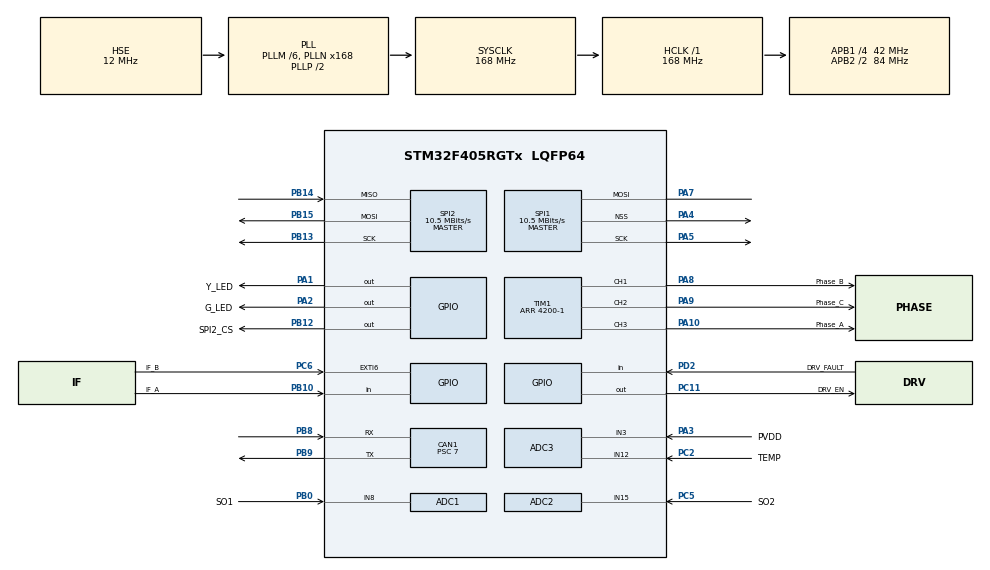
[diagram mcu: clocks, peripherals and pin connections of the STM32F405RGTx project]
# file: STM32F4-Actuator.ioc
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Mcu.Family=STM32F4
Dma.ADC3.0.FIFOMode=DMA_FIFOMODE_DISABLE
PH0-OSC_IN.Signal=RCC_OSC_IN
Dma.ADC3.0.Priority=DMA_PRIORITY_LOW
RCC.CortexFreq_Value=168000000
TIM1.OCIdleState_1=TIM_OCIDLESTATE_RESET
TIM1.OCIdleState_2=TIM_OCIDLESTATE_RESET
SPI1.VirtualType=VM_MASTER
SPI2.VirtualType=VM_MASTER
ADC2.Channel-0\#ChannelRegularConversion=ADC_CHANNEL_15
TIM1.RepetitionCounter=3
TIM1.OCIdleState_3=TIM_OCIDLESTATE_RESET
PA14.GPIO_Label=SWCLK
PC6.GPIO_Label=IF_B
PB0.GPIO_Label=SO1
PB13.Signal=SPI2_SCK
PB15.Signal=SPI2_MOSI
ADC3.Channel-0\#ChannelRegularConversion=ADC_CHANNEL_3
RCC.SYSCLKSource=RCC_SYSCLKSOURCE_PLLCLK
ProjectManager.StackSize=0x4000
TIM1.OCMode_PWM-PWM\ Generation3\ CH3=TIM_OCMODE_PWM2
PA4.Mode=NSS_Signal_Hard_Output
ADC1.Mode=ADC_TRIPLEMODE_REGSIMULT
SPI1.Direction=SPI_DIRECTION_1LINE
RCC.HCLKFreq_Value=168000000
SH.ADCx_IN3.0=ADC3_IN3,IN3
RCC.APB2TimFreq_Value=168000000
Dma.ADC3.0.Direction=DMA_PERIPH_TO_MEMORY
SPI1.CalculateBaudRate=10.5 MBits/s
NVIC.DMA2_Stream0_IRQn=true\:0\:0\:false\:false\:true\:false\:true
Dma.ADC3.0.MemDataAlignment=DMA_MDATAALIGN_WORD
ADC2.EOCSelection=ADC_EOC_SEQ_CONV
RCC.AHBFreq_Value=168000000
SPI2.BaudRatePrescaler=SPI_BAUDRATEPRESCALER_4
PH0-OSC_IN.Mode=HSE-External-Oscillator
ADC3.SamplingTime-1\#ChannelRegularConversion=ADC_SAMPLETIME_28CYCLES
ADC1.Channel-0\#ChannelRegularConversion=ADC_CHANNEL_8
RCC.HSE_VALUE=12000000
PB3.Mode=Trace_Asynchronous_SW
ADC1.ScanConvMode=ENABLE
SH.ADCx_IN15.0=ADC2_IN15,IN15
Dma.ADC3.0.PeriphInc=DMA_PINC_DISABLE
PB12.GPIO_Label=SPI2_CS
TIM1.Channel-PWM\ Generation1\ CH1=TIM_CHANNEL_1
PA14.Mode=Trace_Asynchronous_SW
PB14.Mode=Full_Duplex_Master
PC11.GPIO_Label=DRV_EN
PA10.GPIO_Label=Phase_A
SH.ADCx_IN8.0=ADC1_IN8,IN8
SPI2.CalculateBaudRate=10.5 MBits/s
Dma.ADC3.0.MemInc=DMA_MINC_ENABLE
PA8.Signal=S_TIM1_CH1
SPI1.VirtualNSS=VM_NSSHARD
VP_TIM1_VS_ClockSourceINT.Mode=Internal
ADC1.SamplingTime-0\#ChannelRegularConversion=ADC_SAMPLETIME_28CYCLES
PH1-OSC_OUT.Mode=HSE-External-Oscillator
CAN1.Prescaler=7
Mcu.Package=LQFP64
PB9.Signal=CAN1_TX
SPI2.Mode=SPI_MODE_MASTER
PA2.GPIO_Label=G_LED
ADC3.Rank-0\#ChannelRegularConversion=1
PA10.Signal=S_TIM1_CH3
ADC2.SamplingTime-0\#ChannelRegularConversion=ADC_SAMPLETIME_28CYCLES
SPI2.CLKPhase=SPI_PHASE_2EDGE
PA10.GPIO_Speed=GPIO_SPEED_FREQ_VERY_HIGH
ADC3.DMAContinuousRequests=ENABLE
RCC.APB2CLKDivider=RCC_HCLK_DIV2
RCC.APB1TimFreq_Value=84000000
Dma.ADC3.0.Instance=DMA2_Stream0
SPI2.Direction=SPI_DIRECTION_2LINES
PC5.Signal=ADCx_IN15
TIM1.Period=4200-1
PB13.Mode=Full_Duplex_Master
ADC2.Rank-0\#ChannelRegularConversion=1
Dma.Request0=ADC3
SPI1.BaudRatePrescaler=SPI_BAUDRATEPRESCALER_8
CAN1.CalculateTimeBit=999.99
PC2.GPIO_Label=TEMP
PA8.GPIO_Speed=GPIO_SPEED_FREQ_VERY_HIGH
ADC1.EOCSelection=ADC_EOC_SEQ_CONV
ADC2.ScanConvMode=ENABLE
PA3.Signal=ADCx_IN3
CAN1.CalculateTimeQuantum=166.66666666666669
PA5.Mode=Simplex_Bidirectional_Master
PB3.GPIO_Label=SWO
RCC.PLLSourceVirtual=RCC_PLLSOURCE_HSE
TIM1.OCPolarity_1=TIM_OCPOLARITY_HIGH
TIM1.OCPolarity_3=TIM_OCPOLARITY_HIGH
TIM1.OCPolarity_2=TIM_OCPOLARITY_HIGH
ADC2.Mode=ADC_TRIPLEMODE_REGSIMULT
ADC1.Rank-0\#ChannelRegularConversion=1
PA7.Mode=Simplex_Bidirectional_Master
PD2.GPIO_PuPd=GPIO_PULLUP
TIM1.CounterMode=TIM_COUNTERMODE_CENTERALIGNED1
PA9.GPIO_Label=Phase_C
PC11.Signal=GPIO_Output
CAN1.CalculateBaudRate=1000000
PC2.Signal=ADCx_IN12
PC6.Signal=GPXTI6
SPI1.CLKPhase=SPI_PHASE_2EDGE
RCC.APB1CLKDivider=RCC_HCLK_DIV4
PA13.Signal=SYS_JTMS-SWDIO
TIM1.AutoReloadPreload=TIM_AUTORELOAD_PRELOAD_ENABLE
SH.ADCx_IN12.0=ADC3_IN12,IN12
ADC3.SamplingTime-0\#ChannelRegularConversion=ADC_SAMPLETIME_28CYCLES
PA8.GPIO_Label=Phase_B
SH.S_TIM1_CH1.0=TIM1_CH1,PWM Generation1 CH1
CAN1.BS2=CAN_BS2_2TQ
CAN1.BS1=CAN_BS1_3TQ
ProjectManager.TargetToolchain=STM32CubeIDE
PB10.GPIO_Label=IF_A
PB9.Mode=CAN_Activate
PA9.Signal=S_TIM1_CH2
TIM1.Channel-PWM\ Generation2\ CH2=TIM_CHANNEL_2
ADC3.NbrOfConversion=2
RCC.LSE_VALUE=32768
PA1.Signal=GPIO_Output
PB12.GPIO_Speed=GPIO_SPEED_FREQ_MEDIUM
PB10.Signal=GPIO_Input
PB14.Signal=SPI2_MISO
PA5.Signal=SPI1_SCK
board=custom
RCC.VCOOutputFreq_Value=336000000
PB15.Mode=Full_Duplex_Master
RCC.APB2Freq_Value=84000000
SH.S_TIM1_CH2.0=TIM1_CH2,PWM Generation2 CH2
SPI1.Mode=SPI_MODE_MASTER
CAN1.Mode=CAN_MODE_LOOPBACK
PA1.GPIO_Label=Y_LED
PH1-OSC_OUT.Signal=RCC_OSC_OUT
PA13.Mode=Trace_Asynchronous_SW
Mcu.Name=STM32F405RGTx
Dma.ADC3.0.PeriphDataAlignment=DMA_PDATAALIGN_WORD
ADC3.Channel-1\#ChannelRegularConversion=ADC_CHANNEL_3
TIM1.OCMode_PWM-PWM\ Generation1\ CH1=TIM_OCMODE_PWM2
PA2.Signal=GPIO_Output
PA13.GPIO_Label=SWDIO
RCC.48MHZClocksFreq_Value=84000000
PB3.Signal=SYS_JTDO-SWO
ADC3.Rank-1\#ChannelRegularConversion=2
PA4.Signal=SPI1_NSS
RCC.SYSCLKFreq_VALUE=168000000
ADC1.master=1
ADC2.NbrOfConversionFlag=1
PC5.GPIO_Label=SO2
NVIC.EXTI9_5_IRQn=true\:0\:0\:false\:false\:true\:true\:true
PA14.Signal=SYS_JTCK-SWCLK
ProjectManager.HeapSize=0x2000
ADC3.EOCSelection=ADC_EOC_SEQ_CONV
Dma.ADC3.0.Mode=DMA_CIRCULAR
SH.S_TIM1_CH3.0=TIM1_CH3,PWM Generation3 CH3
NVIC.TIM1_UP_TIM10_IRQn=true\:1\:0\:true\:false\:true\:true\:true
RCC.HSI_VALUE=16000000
NVIC.PriorityGroup=NVIC_PRIORITYGROUP_4
ADC1.NbrOfConversionFlag=1
RCC.PLLM=6
PB8.Mode=CAN_Activate
RCC.PLLN=168
TIM1.OCMode_PWM-PWM\ Generation2\ CH2=TIM_OCMODE_PWM2
PA9.GPIO_Speed=GPIO_SPEED_FREQ_VERY_HIGH
PB8.Signal=CAN1_RX
TIM1.Channel-PWM\ Generation3\ CH3=TIM_CHANNEL_3
PD2.Signal=GPIO_Input
PB12.GPIO_PuPd=GPIO_PULLUP
RCC.APB1Freq_Value=42000000
ADC3.NbrOfConversionFlag=1
PB0.Signal=ADCx_IN8
PB12.Signal=GPIO_Output
PD2.GPIO_Label=DRV_FAULT
NVIC.CAN1_RX0_IRQn=true\:2\:0\:true\:false\:true\:true\:true
PA3.GPIO_Label=PVDD
PA7.Signal=SPI1_MOSI

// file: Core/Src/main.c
/* USER CODE BEGIN Header */
/**
  ******************************************************************************
  * @file           : main.c
  * @brief          : Main program body
  ******************************************************************************
  * @attention
  *
  * <h2><center>&copy; Copyright (c) 2021 STMicroelectronics.
  * All rights reserved.</center></h2>
  *
  * This software component is licensed by ST under BSD 3-Clause license,
  * the "License"; You may not use this file except in compliance with the
  * License. You may obtain a copy of the License at:
  *                        opensource.org/licenses/BSD-3-Clause
  *
  ******************************************************************************
  */
/* USER CODE END Header */
#include "main.h"

/* USER CODE BEGIN Includes */
#include <stdio.h>
#include <stdint.h>
#include <math.h>
#include "sin_lookup.h"
#include "stm32f4xx_it.h"
/* USER CODE END Includes */

/* USER CODE BEGIN PD */

#define REV 1	// code revision

// Phase Mappings
#define Phase_A_Ch TIM_CHANNEL_3
#define Phase_B_Ch TIM_CHANNEL_1
#define Phase_C_Ch TIM_CHANNEL_2

// Enable DRV chip?
#define DRV_EN 0

// CAN ID (actuator)
#define CAN_TX_ID 2		// Transmits as this ID
#define CAN_RX_ID 1		// Recieves messages from this ID

/* USER CODE END PD */

ADC_HandleTypeDef hadc1;
ADC_HandleTypeDef hadc2;
ADC_HandleTypeDef hadc3;
DMA_HandleTypeDef hdma_adc3;

CAN_HandleTypeDef hcan1;

SPI_HandleTypeDef hspi1;
SPI_HandleTypeDef hspi2;

TIM_HandleTypeDef htim1;

/* USER CODE BEGIN PV */

// Encoder
typedef struct
{
	float SPI_theta;		// IIF from SPI 0-360deg used to zero

	int16_t  IIF_Counter;		// The counter variable that is interrupt driven so dont use it in calculations
	int64_t  IIF_Revolutions;	// Number of full revolutions taken
	uint16_t IIF_Raw;			// Current angle 0-4095
} ENC_Struct;
// ADC
typedef struct
{
	float VDDA;
	uint32_t DMA_Buff[3];						// Array for ADC 3 DMA requests
	float PVDD, V_bat_R_Bot, V_bat_R_Top;		// Temp_V_Offset/V 	and Resistor divider for PVDD	V1: V_o = Vin * R2 / (R1+R2)
	float Temp, Temp_V_Offset, Temp_Slope;		// Board temp 		and thermocouple properties		LM60: V_o = (6.25mV * T/C) + 424mV

	int16_t i_a_Raw, i_b_Raw, PVDD_Raw, Temp_Raw;	// Raw ADC readings
	int16_t i_a_Fil, i_b_Fil, PVDD_Fil, Temp_Fil;	// Filtered ADC readings

	float R_Shunt_Res;					// Shunt resistor resistance /ohms
	int SO_Gain;						// Gain of sense amp
	int16_t SO_A_Offset, SO_B_Offset;	// Raw offset of sense amp
} ADC_Struct;
// FOC
typedef struct
{
	// Proeprties
	int Pole_Pairs;				// number of pole pairs
	float dt;					// delta T of FOC response		/seconds

	// Angles
	float m_theta, m_dtheta;	// mechanical theta and dtheta	/deg		/degs-1
	float e_theta, e_dtheta;	// electrical theta and dtheta	/deg		/degs-1

	// FOC currents
	float i_a, i_b, i_c;		// Phase currents				/amps
	float i_alph, i_beta;		// Alpha/Beta currents			/amps
	float i_d, i_q;				// Direct/Quadrature currents	/amps

	// Current target
	float DC_I;					// 0 to 1 of the duty cycle controlling current

	// FOC sector control
	float alpha;				// Angle from start of sector to current position
	int sector;					// which sector currently in

	// Duty cycles
	float DC_1, DC_2, DC_0;		// Duty cycle of vector start, end and unforced

	uint16_t PWM_Reg_Max;		// PWM register max
	float PWM_A, PWM_C, PWM_B;	// Duty cycle
} FOC_Struct;
// Filter
typedef struct
{
	// Butterworth from: https://www.meme.net.au/butterworth.html
	// At 6.667KHz smapling
	// y(i) = k1*x(i) + k1*x(i-1) + k2*y(i-1)

	// Filters i_a, i_b, PVDD, Temp, IIF count, IIF vel

	float i_k[2];		// Filter coefficients for current filters
	float Misc_k[2];	// Filter coefficients for misc filter

	int16_t i_a_Pre, i_a_Pre_Fil, i_b_Pre, i_b_Pre_Fil;			// Previous values for current
	int16_t PVDD_Pre, PVDD_Pre_Fil, Temp_Pre, Temp_Pre_Fil;		// Previous values for PVDD and temp
} FIL_Struct;
// CAN
typedef struct
{
	uint32_t timeout;		// timeout/ms

	CAN_RxHeaderTypeDef rx_header;
	uint8_t rx_data[6];

	CAN_TxHeaderTypeDef tx_header;
	uint8_t tx_data[6];

	CAN_FilterTypeDef filter;
} CAN_Struct;
// Controller
typedef struct
{
	float Torque;
	float Velocity;

} CON_Struct;

ENC_Struct enc;
ADC_Struct adc;
FOC_Struct foc;
FIL_Struct fil;
CAN_Struct can;
CON_Struct con;

/* USER CODE END PV */

void SystemClock_Config(void);
static void MX_GPIO_Init(void);
static void MX_DMA_Init(void);
static void MX_CAN1_Init(void);
static void MX_TIM1_Init(void);
static void MX_ADC1_Init(void);
static void MX_ADC2_Init(void);
static void MX_ADC3_Init(void);
static void MX_SPI1_Init(void);
static void MX_SPI2_Init(void);

/* USER CODE BEGIN 0 */

// For SWD debug port 0 printf()
int _write(int file, char *ptr, int len)
{
	int i=0;
	for(i=0; i<len; i++)
		ITM_SendChar((*ptr++));
	return len;
}

/* USER CODE END 0 */

int main(void)
{

  /* MCU Configuration--------------------------------------------------------*/

  /* Reset of all peripherals, Initializes the Flash interface and the Systick. */
  HAL_Init();

  /* Configure the system clock */
  SystemClock_Config();

  /* Initialize all configured peripherals */
  MX_GPIO_Init();
  MX_DMA_Init();
  MX_CAN1_Init();
  MX_TIM1_Init();
  MX_ADC1_Init();
  MX_ADC2_Init();
  MX_ADC3_Init();
  MX_SPI1_Init();
  MX_SPI2_Init();
  /* USER CODE BEGIN 2 */
  HAL_Delay(10);
  printf("Actuator Firmware Version: %i\n",REV);
  HAL_Delay(10);

  /* Start ADCs */
  printf("Start ADC... ");
  HAL_ADC_Start(&hadc1);
  HAL_ADC_Start(&hadc2);
  HAL_ADC_Start_DMA(&hadc3,(uint32_t*)adc.DMA_Buff,3);
  printf("Good\n");
  HAL_Delay(10);

  /* Startup Timers */
  printf("Start Timers... ");
  HAL_TIM_Base_Start_IT(&htim1);
  HAL_TIM_PWM_Start(&htim1, Phase_A_Ch);
  HAL_TIM_PWM_Start(&htim1, Phase_B_Ch);
  HAL_TIM_PWM_Start(&htim1, Phase_C_Ch);
  Set_PWM3(0,0,0);							// Set PWM channels to off
  printf("Good\n");
  HAL_Delay(10);

  /* Startup DRV chip */
  if(DRV_EN){
	  printf("Start DRV... ");
	  int DRV_Err = DRV_Start();			// startup and write SPI registers
	  if(DRV_Err){							// if errors occurs,
	   printf("DRV Error: %i\n",DRV_Err);
	   Error_Handler();							// enter hardfault handler
	  }
	  DRV_Zero_SO();						// Zero sense amps
	  printf("Good\n");
	  HAL_Delay(10);
  }else{
	  HAL_GPIO_WritePin(DRV_EN_GPIO_Port, DRV_EN_Pin, 0);	// Set enable of DRV chip low
  }

  /* Check Encoder talks */
  printf("Start ENC... ");
  int Enc_Err = Read_Encoder_SPI_Ang(&enc.SPI_theta);	// read one value from encoders
  if(Enc_Err){								// if errors occurs,
	  printf("ENC Error: %i\n",Enc_Err);
	  Error_Handler();							// enter hardfault handler
  }
  enc.IIF_Counter = (int)(enc.SPI_theta /360.0f * 4095.0f);	// Zero encoder
  printf("Good\n");
  HAL_Delay(10);

  /* CAN setup */
  printf("Start CAN... ");
  // Config RX Filter
  can.filter.FilterActivation		= ENABLE;					// use filter or not
  can.filter.FilterBank				= 0;						// specifies which filter to be initialised
  can.filter.FilterFIFOAssignment	= CAN_RX_FIFO0;				// specifies which FIFO this is for
  can.filter.FilterIdHigh			= CAN_RX_ID<<5;				// MSB for 32 bit / first  16 bit
  can.filter.FilterIdLow			= 0x0000;					// LSB for 32 bit / second 16 bit
  can.filter.FilterMaskIdHigh		= CAN_RX_ID<<5;				// MSB for 32 bit / first  16 bit
  can.filter.FilterMaskIdLow		= 0x0000;					// LSB for 32 bit / second 16 bit
  can.filter.FilterMode				= CAN_FILTERMODE_IDMASK;
  can.filter.FilterScale			= CAN_FILTERSCALE_32BIT;
  can.filter.SlaveStartFilterBank	= 14;						// select filter for slave CAN to use

  HAL_CAN_ConfigFilter(&hcan1, &can.filter);
  HAL_CAN_Start(&hcan1);

  // Config TX
  can.tx_header.DLC 				= 6;			// Data length/bytes
  can.tx_header.IDE					= CAN_ID_STD;	// standard ID
  can.tx_header.RTR					= CAN_RTR_DATA;	// set data type to transmission
  can.tx_header.StdId				= CAN_TX_ID;	// recipient CAN ID
  can.tx_header.ExtId				= CAN_TX_ID;   	// recipient extended CAN ID
  can.tx_header.TransmitGlobalTime	= DISABLE;

  __HAL_CAN_ENABLE_IT(&hcan1, CAN_IT_RX_FIFO0_MSG_PENDING); // Start can interrupt
  printf("Good\n");
  HAL_Delay(10);

  /* Setup ADC structure */
  adc.VDDA = 3.30f;
  adc.V_bat_R_Top = 75.0f;
  adc.V_bat_R_Bot = 5.1f;
  adc.Temp_V_Offset = 0.424f;
  adc.Temp_Slope = 0.00625f;
  adc.R_Shunt_Res = 0.001f;
  adc.SO_Gain = 40.0f;

  /* Setup FOC structure*/
  foc.Pole_Pairs = 21.0f;
  foc.dt = (float)(1.0f/(168.0f*1000000.0f/(htim1.Init.Period+1)/(htim1.Init.RepetitionCounter+1)));
  foc.PWM_Reg_Max = htim1.Init.Period;

  /* Setup Filter structure */
  fil.i_k[0]    = 0.421f;	fil.i_k[1]    = 0.158f;
  fil.Misc_k[0] = 0.421f;	fil.Misc_k[1] = 0.158f;

  printf("FOC Start\n");
  HAL_Delay(10);

  /* USER CODE END 2 */

  /* Infinite loop */
  /* USER CODE BEGIN WHILE */
  while (1)
  {
	  /* Heartbeat */
	  HAL_GPIO_WritePin(G_LED_GPIO_Port, G_LED_Pin, 1);

	  // Read if there is an error
	  if(DRV_EN)
		  if(HAL_GPIO_ReadPin(DRV_FAULT_GPIO_Port, DRV_FAULT_Pin)==0)
			  DRV_Error();

	  ADC_Filter_Misc(adc.PVDD_Raw,adc.Temp_Raw,&adc.PVDD_Fil,&adc.Temp_Fil);	// Filter raw ADC PVDD and temp
	  ADC_Norm_Misc(adc.PVDD_Fil,adc.Temp_Fil,&adc.PVDD,&adc.Temp);				// Normalise PVDD and temp

	  printf("ENC IIF: %i\n",enc.IIF_Raw);

	  HAL_Delay(50);

	  HAL_GPIO_WritePin(G_LED_GPIO_Port, G_LED_Pin, 0);

	  HAL_Delay(50);
    /* USER CODE END WHILE */

  }
}

void SystemClock_Config(void)
{
  RCC_OscInitTypeDef RCC_OscInitStruct = {0};
  RCC_ClkInitTypeDef RCC_ClkInitStruct = {0};

  /** Configure the main internal regulator output voltage
  */
  __HAL_RCC_PWR_CLK_ENABLE();
  __HAL_PWR_VOLTAGESCALING_CONFIG(PWR_REGULATOR_VOLTAGE_SCALE1);
  /** Initializes the RCC Oscillators according to the specified parameters
  * in the RCC_OscInitTypeDef structure.
  */
  RCC_OscInitStruct.OscillatorType = RCC_OSCILLATORTYPE_HSE;
  RCC_OscInitStruct.HSEState = RCC_HSE_ON;
  RCC_OscInitStruct.PLL.PLLState = RCC_PLL_ON;
  RCC_OscInitStruct.PLL.PLLSource = RCC_PLLSOURCE_HSE;
  RCC_OscInitStruct.PLL.PLLM = 6;
  RCC_OscInitStruct.PLL.PLLN = 168;
  RCC_OscInitStruct.PLL.PLLP = RCC_PLLP_DIV2;
  RCC_OscInitStruct.PLL.PLLQ = 4;
  if (HAL_RCC_OscConfig(&RCC_OscInitStruct) != HAL_OK)
  {
    Error_Handler();
  }
  /** Initializes the CPU, AHB and APB buses clocks
  */
  RCC_ClkInitStruct.ClockType = RCC_CLOCKTYPE_HCLK|RCC_CLOCKTYPE_SYSCLK
                              |RCC_CLOCKTYPE_PCLK1|RCC_CLOCKTYPE_PCLK2;
  RCC_ClkInitStruct.SYSCLKSource = RCC_SYSCLKSOURCE_PLLCLK;
  RCC_ClkInitStruct.AHBCLKDivider = RCC_SYSCLK_DIV1;
  RCC_ClkInitStruct.APB1CLKDivider = RCC_HCLK_DIV4;
  RCC_ClkInitStruct.APB2CLKDivider = RCC_HCLK_DIV2;

  if (HAL_RCC_ClockConfig(&RCC_ClkInitStruct, FLASH_LATENCY_5) != HAL_OK)
  {
    Error_Handler();
  }
}

static void MX_ADC1_Init(void)
{

  ADC_MultiModeTypeDef multimode = {0};
  ADC_ChannelConfTypeDef sConfig = {0};

  /** Configure the global features of the ADC (Clock, Resolution, Data Alignment and number of conversion)
  */
  hadc1.Instance = ADC1;
  hadc1.Init.ClockPrescaler = ADC_CLOCK_SYNC_PCLK_DIV4;
  hadc1.Init.Resolution = ADC_RESOLUTION_12B;
  hadc1.Init.ScanConvMode = ENABLE;
  hadc1.Init.ContinuousConvMode = DISABLE;
  hadc1.Init.DiscontinuousConvMode = DISABLE;
  hadc1.Init.ExternalTrigConvEdge = ADC_EXTERNALTRIGCONVEDGE_NONE;
  hadc1.Init.ExternalTrigConv = ADC_SOFTWARE_START;
  hadc1.Init.DataAlign = ADC_DATAALIGN_RIGHT;
  hadc1.Init.NbrOfConversion = 1;
  hadc1.Init.DMAContinuousRequests = DISABLE;
  hadc1.Init.EOCSelection = ADC_EOC_SEQ_CONV;
  if (HAL_ADC_Init(&hadc1) != HAL_OK)
  {
    Error_Handler();
  }
  /** Configure the ADC multi-mode
  */
  multimode.Mode = ADC_TRIPLEMODE_REGSIMULT;
  multimode.DMAAccessMode = ADC_DMAACCESSMODE_DISABLED;
  multimode.TwoSamplingDelay = ADC_TWOSAMPLINGDELAY_5CYCLES;
  if (HAL_ADCEx_MultiModeConfigChannel(&hadc1, &multimode) != HAL_OK)
  {
    Error_Handler();
  }
  /** Configure for the selected ADC regular channel its corresponding rank in the sequencer and its sample time.
  */
  sConfig.Channel = ADC_CHANNEL_8;
  sConfig.Rank = 1;
  sConfig.SamplingTime = ADC_SAMPLETIME_28CYCLES;
  if (HAL_ADC_ConfigChannel(&hadc1, &sConfig) != HAL_OK)
  {
    Error_Handler();
  }

}

static void MX_ADC2_Init(void)
{

  ADC_ChannelConfTypeDef sConfig = {0};

  /** Configure the global features of the ADC (Clock, Resolution, Data Alignment and number of conversion)
  */
  hadc2.Instance = ADC2;
  hadc2.Init.ClockPrescaler = ADC_CLOCK_SYNC_PCLK_DIV4;
  hadc2.Init.Resolution = ADC_RESOLUTION_12B;
  hadc2.Init.ScanConvMode = ENABLE;
  hadc2.Init.ContinuousConvMode = DISABLE;
  hadc2.Init.DiscontinuousConvMode = DISABLE;
  hadc2.Init.DataAlign = ADC_DATAALIGN_RIGHT;
  hadc2.Init.NbrOfConversion = 1;
  hadc2.Init.DMAContinuousRequests = DISABLE;
  hadc2.Init.EOCSelection = ADC_EOC_SEQ_CONV;
  if (HAL_ADC_Init(&hadc2) != HAL_OK)
  {
    Error_Handler();
  }
  /** Configure for the selected ADC regular channel its corresponding rank in the sequencer and its sample time.
  */
  sConfig.Channel = ADC_CHANNEL_15;
  sConfig.Rank = 1;
  sConfig.SamplingTime = ADC_SAMPLETIME_28CYCLES;
  if (HAL_ADC_ConfigChannel(&hadc2, &sConfig) != HAL_OK)
  {
    Error_Handler();
  }

}

static void MX_ADC3_Init(void)
{

  ADC_ChannelConfTypeDef sConfig = {0};

  /** Configure the global features of the ADC (Clock, Resolution, Data Alignment and number of conversion)
  */
  hadc3.Instance = ADC3;
  hadc3.Init.ClockPrescaler = ADC_CLOCK_SYNC_PCLK_DIV4;
  hadc3.Init.Resolution = ADC_RESOLUTION_12B;
  hadc3.Init.ScanConvMode = ENABLE;
  hadc3.Init.ContinuousConvMode = DISABLE;
  hadc3.Init.DiscontinuousConvMode = DISABLE;
  hadc3.Init.DataAlign = ADC_DATAALIGN_RIGHT;
  hadc3.Init.NbrOfConversion = 2;
  hadc3.Init.DMAContinuousRequests = ENABLE;
  hadc3.Init.EOCSelection = ADC_EOC_SEQ_CONV;
  if (HAL_ADC_Init(&hadc3) != HAL_OK)
  {
    Error_Handler();
  }
  /** Configure for the selected ADC regular channel its corresponding rank in the sequencer and its sample time.
  */
  sConfig.Channel = ADC_CHANNEL_3;
  sConfig.Rank = 1;
  sConfig.SamplingTime = ADC_SAMPLETIME_28CYCLES;
  if (HAL_ADC_ConfigChannel(&hadc3, &sConfig) != HAL_OK)
  {
    Error_Handler();
  }
  /** Configure for the selected ADC regular channel its corresponding rank in the sequencer and its sample time.
  */
  sConfig.Rank = 2;
  if (HAL_ADC_ConfigChannel(&hadc3, &sConfig) != HAL_OK)
  {
    Error_Handler();
  }

}

static void MX_CAN1_Init(void)
{

  hcan1.Instance = CAN1;
  hcan1.Init.Prescaler = 7;
  hcan1.Init.Mode = CAN_MODE_LOOPBACK;
  hcan1.Init.SyncJumpWidth = CAN_SJW_1TQ;
  hcan1.Init.TimeSeg1 = CAN_BS1_3TQ;
  hcan1.Init.TimeSeg2 = CAN_BS2_2TQ;
  hcan1.Init.TimeTriggeredMode = DISABLE;
  hcan1.Init.AutoBusOff = DISABLE;
  hcan1.Init.AutoWakeUp = DISABLE;
  hcan1.Init.AutoRetransmission = DISABLE;
  hcan1.Init.ReceiveFifoLocked = DISABLE;
  hcan1.Init.TransmitFifoPriority = DISABLE;
  if (HAL_CAN_Init(&hcan1) != HAL_OK)
  {
    Error_Handler();
  }

}

static void MX_SPI1_Init(void)
{

  /* SPI1 parameter configuration*/
  hspi1.Instance = SPI1;
  hspi1.Init.Mode = SPI_MODE_MASTER;
  hspi1.Init.Direction = SPI_DIRECTION_1LINE;
  hspi1.Init.DataSize = SPI_DATASIZE_8BIT;
  hspi1.Init.CLKPolarity = SPI_POLARITY_LOW;
  hspi1.Init.CLKPhase = SPI_PHASE_2EDGE;
  hspi1.Init.NSS = SPI_NSS_HARD_OUTPUT;
  hspi1.Init.BaudRatePrescaler = SPI_BAUDRATEPRESCALER_8;
  hspi1.Init.FirstBit = SPI_FIRSTBIT_MSB;
  hspi1.Init.TIMode = SPI_TIMODE_DISABLE;
  hspi1.Init.CRCCalculation = SPI_CRCCALCULATION_DISABLE;
  hspi1.Init.CRCPolynomial = 10;
  if (HAL_SPI_Init(&hspi1) != HAL_OK)
  {
    Error_Handler();
  }

}

static void MX_SPI2_Init(void)
{

  /* SPI2 parameter configuration*/
  hspi2.Instance = SPI2;
  hspi2.Init.Mode = SPI_MODE_MASTER;
  hspi2.Init.Direction = SPI_DIRECTION_2LINES;
  hspi2.Init.DataSize = SPI_DATASIZE_8BIT;
  hspi2.Init.CLKPolarity = SPI_POLARITY_LOW;
  hspi2.Init.CLKPhase = SPI_PHASE_2EDGE;
  hspi2.Init.NSS = SPI_NSS_SOFT;
  hspi2.Init.BaudRatePrescaler = SPI_BAUDRATEPRESCALER_4;
  hspi2.Init.FirstBit = SPI_FIRSTBIT_MSB;
  hspi2.Init.TIMode = SPI_TIMODE_DISABLE;
  hspi2.Init.CRCCalculation = SPI_CRCCALCULATION_DISABLE;
  hspi2.Init.CRCPolynomial = 10;
  if (HAL_SPI_Init(&hspi2) != HAL_OK)
  {
    Error_Handler();
  }

}

static void MX_TIM1_Init(void)
{

  TIM_ClockConfigTypeDef sClockSourceConfig = {0};
  TIM_MasterConfigTypeDef sMasterConfig = {0};
  TIM_OC_InitTypeDef sConfigOC = {0};
  TIM_BreakDeadTimeConfigTypeDef sBreakDeadTimeConfig = {0};

  htim1.Instance = TIM1;
  htim1.Init.Prescaler = 0;
  htim1.Init.CounterMode = TIM_COUNTERMODE_CENTERALIGNED1;
  htim1.Init.Period = 4200-1;
  htim1.Init.ClockDivision = TIM_CLOCKDIVISION_DIV1;
  htim1.Init.RepetitionCounter = 3;
  htim1.Init.AutoReloadPreload = TIM_AUTORELOAD_PRELOAD_ENABLE;
  if (HAL_TIM_Base_Init(&htim1) != HAL_OK)
  {
    Error_Handler();
  }
  sClockSourceConfig.ClockSource = TIM_CLOCKSOURCE_INTERNAL;
  if (HAL_TIM_ConfigClockSource(&htim1, &sClockSourceConfig) != HAL_OK)
  {
    Error_Handler();
  }
  if (HAL_TIM_PWM_Init(&htim1) != HAL_OK)
  {
    Error_Handler();
  }
  sMasterConfig.MasterOutputTrigger = TIM_TRGO_RESET;
  sMasterConfig.MasterSlaveMode = TIM_MASTERSLAVEMODE_DISABLE;
  if (HAL_TIMEx_MasterConfigSynchronization(&htim1, &sMasterConfig) != HAL_OK)
  {
    Error_Handler();
  }
  sConfigOC.OCMode = TIM_OCMODE_PWM2;
  sConfigOC.Pulse = 0;
  sConfigOC.OCPolarity = TIM_OCPOLARITY_HIGH;
  sConfigOC.OCNPolarity = TIM_OCNPOLARITY_HIGH;
  sConfigOC.OCFastMode = TIM_OCFAST_DISABLE;
  sConfigOC.OCIdleState = TIM_OCIDLESTATE_RESET;
  sConfigOC.OCNIdleState = TIM_OCNIDLESTATE_RESET;
  if (HAL_TIM_PWM_ConfigChannel(&htim1, &sConfigOC, TIM_CHANNEL_1) != HAL_OK)
  {
    Error_Handler();
  }
  if (HAL_TIM_PWM_ConfigChannel(&htim1, &sConfigOC, TIM_CHANNEL_2) != HAL_OK)
  {
    Error_Handler();
  }
  if (HAL_TIM_PWM_ConfigChannel(&htim1, &sConfigOC, TIM_CHANNEL_3) != HAL_OK)
  {
    Error_Handler();
  }
  sBreakDeadTimeConfig.OffStateRunMode = TIM_OSSR_DISABLE;
  sBreakDeadTimeConfig.OffStateIDLEMode = TIM_OSSI_DISABLE;
  sBreakDeadTimeConfig.LockLevel = TIM_LOCKLEVEL_OFF;
  sBreakDeadTimeConfig.DeadTime = 0;
  sBreakDeadTimeConfig.BreakState = TIM_BREAK_DISABLE;
  sBreakDeadTimeConfig.BreakPolarity = TIM_BREAKPOLARITY_HIGH;
  sBreakDeadTimeConfig.AutomaticOutput = TIM_AUTOMATICOUTPUT_DISABLE;
  if (HAL_TIMEx_ConfigBreakDeadTime(&htim1, &sBreakDeadTimeConfig) != HAL_OK)
  {
    Error_Handler();
  }
  HAL_TIM_MspPostInit(&htim1);

}

static void MX_DMA_Init(void)
{

  /* DMA controller clock enable */
  __HAL_RCC_DMA2_CLK_ENABLE();

  /* DMA interrupt init */
  /* DMA2_Stream0_IRQn interrupt configuration */
  HAL_NVIC_SetPriority(DMA2_Stream0_IRQn, 0, 0);
  HAL_NVIC_EnableIRQ(DMA2_Stream0_IRQn);

}

static void MX_GPIO_Init(void)
{
  GPIO_InitTypeDef GPIO_InitStruct = {0};

  /* GPIO Ports Clock Enable */
  __HAL_RCC_GPIOH_CLK_ENABLE();
  __HAL_RCC_GPIOC_CLK_ENABLE();
  __HAL_RCC_GPIOA_CLK_ENABLE();
  __HAL_RCC_GPIOB_CLK_ENABLE();
  __HAL_RCC_GPIOD_CLK_ENABLE();

  /*Configure GPIO pin Output Level */
  HAL_GPIO_WritePin(GPIOA, Y_LED_Pin|G_LED_Pin, GPIO_PIN_RESET);

  /*Configure GPIO pin Output Level */
  HAL_GPIO_WritePin(SPI2_CS_GPIO_Port, SPI2_CS_Pin, GPIO_PIN_RESET);

  /*Configure GPIO pin Output Level */
  HAL_GPIO_WritePin(DRV_EN_GPIO_Port, DRV_EN_Pin, GPIO_PIN_RESET);

  /*Configure GPIO pins : Y_LED_Pin G_LED_Pin */
  GPIO_InitStruct.Pin = Y_LED_Pin|G_LED_Pin;
  GPIO_InitStruct.Mode = GPIO_MODE_OUTPUT_PP;
  GPIO_InitStruct.Pull = GPIO_NOPULL;
  GPIO_InitStruct.Speed = GPIO_SPEED_FREQ_LOW;
  HAL_GPIO_Init(GPIOA, &GPIO_InitStruct);

  /*Configure GPIO pin : IF_A_Pin */
  GPIO_InitStruct.Pin = IF_A_Pin;
  GPIO_InitStruct.Mode = GPIO_MODE_INPUT;
  GPIO_InitStruct.Pull = GPIO_NOPULL;
  HAL_GPIO_Init(IF_A_GPIO_Port, &GPIO_InitStruct);

  /*Configure GPIO pin : SPI2_CS_Pin */
  GPIO_InitStruct.Pin = SPI2_CS_Pin;
  GPIO_InitStruct.Mode = GPIO_MODE_OUTPUT_PP;
  GPIO_InitStruct.Pull = GPIO_PULLUP;
  GPIO_InitStruct.Speed = GPIO_SPEED_FREQ_MEDIUM;
  HAL_GPIO_Init(SPI2_CS_GPIO_Port, &GPIO_InitStruct);

  /*Configure GPIO pin : IF_B_Pin */
  GPIO_InitStruct.Pin = IF_B_Pin;
  GPIO_InitStruct.Mode = GPIO_MODE_IT_RISING;
  GPIO_InitStruct.Pull = GPIO_NOPULL;
  HAL_GPIO_Init(IF_B_GPIO_Port, &GPIO_InitStruct);

  /*Configure GPIO pin : DRV_EN_Pin */
  GPIO_InitStruct.Pin = DRV_EN_Pin;
  GPIO_InitStruct.Mode = GPIO_MODE_OUTPUT_PP;
  GPIO_InitStruct.Pull = GPIO_NOPULL;
  GPIO_InitStruct.Speed = GPIO_SPEED_FREQ_LOW;
  HAL_GPIO_Init(DRV_EN_GPIO_Port, &GPIO_InitStruct);

  /*Configure GPIO pin : DRV_FAULT_Pin */
  GPIO_InitStruct.Pin = DRV_FAULT_Pin;
  GPIO_InitStruct.Mode = GPIO_MODE_INPUT;
  GPIO_InitStruct.Pull = GPIO_PULLUP;
  HAL_GPIO_Init(DRV_FAULT_GPIO_Port, &GPIO_InitStruct);

  /* EXTI interrupt init*/
  HAL_NVIC_SetPriority(EXTI9_5_IRQn, 0, 0);
  HAL_NVIC_EnableIRQ(EXTI9_5_IRQn);

}

/* USER CODE BEGIN 4 */

// DRV
int   DRV_SPI_Transmit_Check(uint16_t TX_Data, uint16_t RSVD_Mask)
{
	uint8_t SPI_Data[2];	// to transmit
	uint8_t SPI_Buff[2];	// recieve buffer

	// Transmit
	SPI_Data[0] = (TX_Data>>8)&0b01111111;	// first split data up into 8 bits and make it a write command
	SPI_Data[1] = TX_Data;
	HAL_GPIO_WritePin(SPI2_CS_GPIO_Port, SPI2_CS_Pin, 0);
	HAL_SPI_Transmit(&hspi2,(uint8_t*)&SPI_Data,2,1);
	HAL_GPIO_WritePin(SPI2_CS_GPIO_Port, SPI2_CS_Pin, 1);
	HAL_Delay(1);

	// Recieve
	SPI_Data[0] = (TX_Data>>8)|0b10000000;	// first split data up into 8 bits and make it a read command
	SPI_Data[1] = TX_Data;
	HAL_GPIO_WritePin(SPI2_CS_GPIO_Port, SPI2_CS_Pin, 0);
	HAL_SPI_TransmitReceive(&hspi2,(uint8_t*)&SPI_Data,SPI_Buff,2,1);
	HAL_GPIO_WritePin(SPI2_CS_GPIO_Port, SPI2_CS_Pin, 1);
	HAL_Delay(1);

	//printf("%i%i%i  %i%i%i%i %i%i%i%i\n",(int)(SPI_Buff[0]>>2&1UL) ,(int)(SPI_Buff[0]>>1&1UL) ,(int)(SPI_Buff[0]>>0&1UL) ,(int)(SPI_Buff[1]>>7&1UL) ,(int)(SPI_Buff[1]>>6&1UL) ,(int)(SPI_Buff[1]>>5&1UL) ,(int)(SPI_Buff[1]>>4&1UL) ,(int)(SPI_Buff[1]>>3&1UL) ,(int)(SPI_Buff[1]>>2&1UL) ,(int)(SPI_Buff[1]>>1&1UL) ,(int)(SPI_Buff[1]>>0&1UL) );

	if((((SPI_Data[0]^SPI_Buff[0])&((int)(RSVD_Mask>>8)))==0) && (((SPI_Data[1]^SPI_Buff[1])&((int)RSVD_Mask))==0))	// XOR compare written to read data
		return 0;	// if they are the same, return 0
		else
		return 1;	// if they are not same, return 1
}
int   DRV_Start  (void)
{
	HAL_GPIO_WritePin(DRV_EN_GPIO_Port, DRV_EN_Pin, 1);	// Set enable of drv chip high
	HAL_GPIO_WritePin(SPI2_CS_GPIO_Port, SPI2_CS_Pin, 1);

	if(DRV_SPI_Transmit_Check(0b0010101101000100,0x03FF)) return 1;	// write 0x5 register : HS gate 1780ns peak source time, 60mA sink, 50mA source
	if(DRV_SPI_Transmit_Check(0b0011001101000100,0x03FF)) return 2;	// write 0x6 register : LS gate 1780ns peak source time, 60mA sink, 50mA source
	if(DRV_SPI_Transmit_Check(0b0011101010010110,0x03FF)) return 3;	// write 0x7 register : Active freewheeling, 3 channel PWM, 52ns dead time, 1.75us Vds sense, 3.5us Vds deglitch
	if(DRV_SPI_Transmit_Check(0b0100110010100000,0x07FF)) return 3;	// write 0x9 register : Clamp sense output to 3.3V, faults all enabled
	if(DRV_SPI_Transmit_Check(0b0101000010101010,0x07FF)) return 4;	// write 0xA register : Normal operation, 2.5us amp blanking time, 40 gain
	if(DRV_SPI_Transmit_Check(0b0101100100001010,0x031F)) return 5;	// write 0xB register : k=2, 10us Vreg power down down delay, UVLO at Vreg*0.7
	if(DRV_SPI_Transmit_Check(0b0110000000000000,0x00FF)) return 6;	// write 0xC register : Vds threshold=60mV, Vds overcurrent latch shut down

	return 0;
}
void  DRV_Error  (void)
{
	printf("DRV Error\n");

	// Read errors
	uint8_t SPI_Data[2];
	uint8_t SPI_Buff[2];

	for(int i=1; i<=4; i++)
	{
		SPI_Data[0] = 0b10000000 | (i<<11);	// Create read command

		HAL_GPIO_WritePin(SPI2_CS_GPIO_Port, SPI2_CS_Pin, 0);
		HAL_SPI_TransmitReceive(&hspi2,(uint8_t*)&SPI_Data,SPI_Buff,2,1);
		HAL_GPIO_WritePin(SPI2_CS_GPIO_Port, SPI2_CS_Pin, 1);
		//HAL_Delay(1);

		printf("0x%x Register:  %i%i%i  %i%i%i%i %i%i%i%i\n",i,(int)(SPI_Buff[0]>>2&1UL) ,(int)(SPI_Buff[0]>>1&1UL) ,(int)(SPI_Buff[0]>>0&1UL) ,(int)(SPI_Buff[1]>>7&1UL) ,(int)(SPI_Buff[1]>>6&1UL) ,(int)(SPI_Buff[1]>>5&1UL) ,(int)(SPI_Buff[1]>>4&1UL) ,(int)(SPI_Buff[1]>>3&1UL) ,(int)(SPI_Buff[1]>>2&1UL) ,(int)(SPI_Buff[1]>>1&1UL) ,(int)(SPI_Buff[1]>>0&1UL) );
	}
}
void  DRV_Zero_SO(void)
{
	// Turn PWM off
	Set_PWM3(0,0,0);

	// Set to DC calibration mode
	DRV_SPI_Transmit_Check(0b0101011110101010,0x00FF);	// write 0xC register : DC calibration mode, 2.5us amp blanking time, 40 gain

	HAL_Delay(1);

	// Take 5 readings
	int16_t temp_A[5], temp_B[5], temp_PVDD[5], temp_Temp[5];
	int16_t outp_A[5], outp_B[5];

	for(int i=0; i<5; i++)
	{
		ADC_Get_Raw(&temp_A[i],&temp_B[i],&temp_PVDD[i],&temp_Temp[i]);
		HAL_Delay(1);
	}

	// Sort arrays in ascending order
	Array_Sort(temp_A,outp_A,5);
	Array_Sort(temp_B,outp_B,5);

	// Take average of three readings in the middle
	adc.SO_A_Offset = (outp_A[1]+outp_A[2]+outp_A[3]) / 3;
	adc.SO_B_Offset = (outp_B[1]+outp_B[2]+outp_B[3]) / 3;

	// Set to normal operation again
	DRV_SPI_Transmit_Check(0b0101000010101010,0x07FF);	// write 0xA register : Normal operation, 2.5us amp blanking time, 40 gain
}
void  Array_Sort (int16_t input[], int16_t output[], int n)
{
	for(int i=0; i<n; i++)	// For each element in the input aray,
	{
		int count=0;

		for(int k=0; k<n; k++)		// Count how many numbers it is larger than
		{
			if(input[i]>input[k])
			{
				count++;
			}
		}

		while(output[count]==input[i])	// If duplicates, increase index by 1
		{
			count = count+1;
		}

		output[count] = input[i];		// Set the output[count] as input[i]
	}
}
// Read ADCs
void  ADC_Get_Raw    (int16_t*i_a_Raw, int16_t*i_b_Raw, int16_t*PVDD_Raw, int16_t*Temp_Raw)
{
	HAL_ADC_Start(&hadc1);
	HAL_ADC_PollForConversion(&hadc1, 1);

	*i_a_Raw	= HAL_ADC_GetValue(&hadc1);
	*i_b_Raw	= HAL_ADC_GetValue(&hadc2);
	*PVDD_Raw	= adc.DMA_Buff[0];
	*Temp_Raw	= adc.DMA_Buff[1];
}
void  ADC_Filter_Curr(int16_t i_a_Raw, int16_t i_b_Raw, int16_t*i_a_Fil, int16_t*i_b_Fil)
{
	// Filter
	*i_a_Fil = fil.i_k[0]*i_a_Raw + fil.i_k[0]*fil.i_a_Pre + fil.i_k[1]*fil.i_a_Pre_Fil;
	*i_b_Fil = fil.i_k[0]*i_b_Raw + fil.i_k[0]*fil.i_b_Pre + fil.i_k[1]*fil.i_b_Pre_Fil;

	// Now store current values as previous values
	fil.i_a_Pre = i_a_Raw;
	fil.i_b_Pre = i_b_Raw;

	fil.i_a_Pre_Fil = *i_a_Fil;
	fil.i_b_Pre_Fil = *i_b_Fil;
}
void  ADC_Norm_Curr  (int16_t i_a_Fil, int16_t i_b_Fil, float*i_a, float*i_b)
{
	*i_a = (((float)(i_a_Fil-adc.SO_A_Offset))*adc.VDDA/4095.0f)/adc.SO_Gain/adc.R_Shunt_Res;
	*i_b = (((float)(i_b_Fil-adc.SO_B_Offset))*adc.VDDA/4095.0f)/adc.SO_Gain/adc.R_Shunt_Res;
}
void  ADC_Filter_Misc(int16_t PVDD_Raw, int16_t Temp_Raw, int16_t*PVDD_Fil, int16_t*Temp_Fil)
{
	// Filter
	*PVDD_Fil = fil.Misc_k[0]*PVDD_Raw + fil.Misc_k[0]*fil.PVDD_Pre + fil.Misc_k[1]*fil.PVDD_Pre_Fil;
	*Temp_Fil = fil.Misc_k[0]*Temp_Raw + fil.Misc_k[0]*fil.Temp_Pre + fil.Misc_k[1]*fil.Temp_Pre_Fil;

	// Now store current values as previous values
	fil.PVDD_Pre = PVDD_Raw;
	fil.Temp_Pre = Temp_Raw;

	fil.PVDD_Pre_Fil = *PVDD_Fil;
	fil.Temp_Pre_Fil = *Temp_Fil;
}
void  ADC_Norm_Misc  (int16_t PVDD_Fil, int16_t Temp_Fil, float*PVDD, float*Temp)
{
	*PVDD = (float)PVDD_Fil*adc.VDDA/4095.0f / adc.V_bat_R_Bot * (adc.V_bat_R_Bot+adc.V_bat_R_Top);
	*Temp = (((float)Temp_Fil*adc.VDDA/4095.0f)-adc.Temp_V_Offset)/adc.Temp_Slope;
}
// Encoder
int   Read_Encoder_SPI_Ang(float*Angle)
{
	const uint8_t ENC_ASK_POS [2] = {0b10000000,0b00100000};	// Command for asking position
	uint8_t ENC_SPI_Buffer[4];

	if(HAL_SPI_Transmit(&hspi1, (uint8_t*)&ENC_ASK_POS,   2, 1)) return 1;	// Ask for data
	if(HAL_SPI_Receive (&hspi1, (uint8_t*)ENC_SPI_Buffer, 3, 1)) return 2;	// Recieve 2 bytes of data

	int16_t SPI_ANG = (ENC_SPI_Buffer[1] << 8 | ENC_SPI_Buffer[2]);		// make 16 bit
	int16_t ANG_VAL = (0b0011111111111111 & SPI_ANG);					// keep last 14 bits
	ANG_VAL -= (((SPI_ANG)&(1UL<<(14)))>>(14))*(-16384);
	*Angle = 360.0/32768.0 * ANG_VAL;

	return 0;
}
void  IF_B_Int(void)
{
	if(HAL_GPIO_ReadPin(IF_A_GPIO_Port, IF_A_Pin))
		enc.IIF_Counter++;		// If high, increment
	else
		enc.IIF_Counter--;		// If low , decrement

	if(enc.IIF_Counter>=4096)	// If overflow
	{
		enc.IIF_Counter = 0;		// Set to 0
		enc.IIF_Revolutions++;		// Increment revolutions counter
	}

	if(enc.IIF_Counter<0)		// If underflow
	{
		enc.IIF_Counter = 4095;		// Set to 4095
		enc.IIF_Revolutions--;		// Decrement revolutions counter
	}
}
// FOC stuff
void  Set_PWM3(uint16_t ARR_1, uint16_t ARR_2, uint16_t ARR_3)
{
	__HAL_TIM_SET_COMPARE(&htim1,Phase_A_Ch,ARR_1);	// Set PWM channels
	__HAL_TIM_SET_COMPARE(&htim1,Phase_B_Ch,ARR_2);
	__HAL_TIM_SET_COMPARE(&htim1,Phase_C_Ch,ARR_3);
}
float _sin(float theta)
{
	return sin_lookup[(int)floor(theta)];
}
float _cos(float theta)
{
	return sin_lookup[(int)floor(fmodf(theta+270.0f,360.0f))];
}
// Timer Interrupts
void  FOC_Interrupt(void)
{
	/* LED on */
	HAL_GPIO_WritePin(Y_LED_GPIO_Port, Y_LED_Pin, 1);

	/* FOC sample */
	ADC_Get_Raw(&adc.i_a_Raw,&adc.i_b_Raw, &adc.PVDD_Raw, &adc.Temp_Raw);	// Read raw ADC
	enc.IIF_Raw = enc.IIF_Counter;											// Get encoder angle

	/* Filter and normalise readings */
	ADC_Filter_Curr(adc.i_a_Raw,adc.i_b_Raw,&adc.i_a_Fil,&adc.i_b_Fil);		// Filter raw ADC currents
	ADC_Norm_Curr  (adc.i_a_Fil,adc.i_b_Fil,&foc.i_a,&foc.i_b);				// Normalise currents
	foc.m_theta = (float)enc.IIF_Raw / 4095.0f * 360.0f;					// Normalise angle to 0-360deg

	/* FOC maths */
	// Get electrical angles correct
	foc.e_theta = fmodf(foc.m_theta*foc.Pole_Pairs,360.0f);	// get electrical angle and constrain in 360 deg

	// Clarke -> alpha/beta
	foc.i_alph = foc.i_a;
	foc.i_beta = SQRT1_3 * (2.0f*foc.i_b - foc.i_a);

	// Park -> direct/quadrature
	float sin_Ang = _sin(foc.e_theta);
	float cos_Ang = _cos(foc.e_theta);
	foc.i_d = cos_Ang*foc.i_alph + sin_Ang*foc.i_beta;
	foc.i_q = cos_Ang*foc.i_beta - sin_Ang*foc.i_alph;

	/* Regulate currents */
	foc.DC_I = 0.1f;				// Current duty cycle

	/* Set PWM Compare values */
	foc.alpha = fmodf(foc.e_theta,60.0f);	// calculate alpha

	foc.DC_1 = foc.DC_I*_sin(60.0f - foc.alpha);
	foc.DC_2 = foc.DC_I*_sin(foc.alpha);
	foc.DC_0 = 1.0f - foc.DC_1 - foc.DC_2;

	foc.sector = (int)floor(foc.e_theta/60.0f);

	switch (foc.sector)
	{
		case 0:
			foc.PWM_A = 0.5*foc.DC_0;
			foc.PWM_B = 0.5*foc.DC_0 + foc.DC_1;
			foc.PWM_C = 0.5*foc.DC_0 + foc.DC_1 + foc.DC_2;
			break;
		case 1:
			foc.PWM_A = 0.5*foc.DC_0 + foc.DC_2;
			foc.PWM_B = 0.5*foc.DC_0;
			foc.PWM_C = 0.5*foc.DC_0 + foc.DC_1 + foc.DC_2;
			break;
		case 2:
			foc.PWM_A = 0.5*foc.DC_0 + foc.DC_1 + foc.DC_2;
			foc.PWM_B = 0.5*foc.DC_0;
			foc.PWM_C = 0.5*foc.DC_0 + foc.DC_1;
			break;
		case 3:
			foc.PWM_A = 0.5*foc.DC_0 + foc.DC_1 + foc.DC_2;
			foc.PWM_B = 0.5*foc.DC_0 + foc.DC_2;
			foc.PWM_C = 0.5*foc.DC_0;
			break;
		case 4:
			foc.PWM_A = 0.5*foc.DC_0 + foc.DC_1;
			foc.PWM_B = 0.5*foc.DC_0 + foc.DC_1 + foc.DC_2;
			foc.PWM_C = 0.5*foc.DC_0;
			break;
		case 5:
			foc.PWM_A = 0.5*foc.DC_0;
			foc.PWM_B = 0.5*foc.DC_0 + foc.DC_1 + foc.DC_2;
			foc.PWM_C = 0.5*foc.DC_0 + foc.DC_2;
			break;
	}

	Set_PWM3(foc.PWM_Reg_Max*(1.0f-foc.PWM_A),foc.PWM_Reg_Max*(1.0f-foc.PWM_B),foc.PWM_Reg_Max*(1.0f-foc.PWM_C));

	/* LED off */
	HAL_GPIO_WritePin(Y_LED_GPIO_Port, Y_LED_Pin, 0);
}
void  CAN_Interrupt(void)
{
	// Get CAN message
		// 4b  Unused
		// 12b Position
		// 16b Velocity
		// 16b Torque
	HAL_CAN_GetRxMessage(&hcan1, CAN_RX_FIFO0, &can.rx_header, can.rx_data);

	// Create CAN response message
		// 8b  temp
		// 12b position
		// 14b velocity
		// 14b torque
	uint32_t TxMailbox;
	uint16_t temp_vel = 0b0011111111111111;
	uint16_t temp_tor = 0b0011111111111111;

	can.tx_data[0] = (uint8_t) (((float)adc.Temp_Fil*adc.VDDA/4095.0f)-adc.Temp_V_Offset)/adc.Temp_Slope;
	can.tx_data[1] = (uint8_t) (enc.IIF_Raw>>4);
	can.tx_data[2] = (uint8_t) ((enc.IIF_Raw<<4) | ((temp_vel>>10) & 0b00001111));
	can.tx_data[3] = (uint8_t) (temp_vel>>2);
	can.tx_data[4] = (uint8_t) ((temp_vel<<6) | ((temp_tor>>8) & 0b00001111));
	can.tx_data[5] = (uint8_t) (temp_tor);

	// Send CAN message
	HAL_CAN_AddTxMessage(&hcan1, &can.tx_header, can.tx_data, &TxMailbox);

	// if special commands, do function else unpack rx message
	if((can.rx_data[0]==0xFF) & (can.rx_data[1]==0xFF) & (can.rx_data[2]==0xFF) & (can.rx_data[3]==0xFF) & (can.rx_data[4]==0xFF))
	{
		switch (can.rx_data[5])
		{
		case 0:
			break;
		case 1:
			break;
		}
	}
	else
	{
		// unpack and update target values
	}

	can.timeout = 0;	// reset timeout timer
}

// Misc
void LED_Blink(int N, uint32_t delay, GPIO_TypeDef* GPIOx, uint16_t GPIO_PIN)
{
	for (int i = 0; i < N; ++i)
	{
		HAL_GPIO_WritePin(GPIOx,GPIO_PIN,1);
		HAL_Delay(delay);
		HAL_GPIO_WritePin(GPIOx,GPIO_PIN,0);
		HAL_Delay(delay);
	}
}

/* USER CODE END 4 */

void Error_Handler(void)
{
  /* USER CODE BEGIN Error_Handler_Debug */

  Set_PWM3(0, 0, 0);	// turn off PWM

  __disable_irq();

  while (1)
  {
	  LED_Blink(3,200,Y_LED_GPIO_Port,Y_LED_Pin);	HAL_Delay(200);	// S
	  LED_Blink(3,400,Y_LED_GPIO_Port,Y_LED_Pin);					// O
	  LED_Blink(3,200,Y_LED_GPIO_Port,Y_LED_Pin);	HAL_Delay(800);	// S
  }
  /* USER CODE END Error_Handler_Debug */
}

/************************ (C) COPYRIGHT STMicroelectronics *****END OF FILE****/
